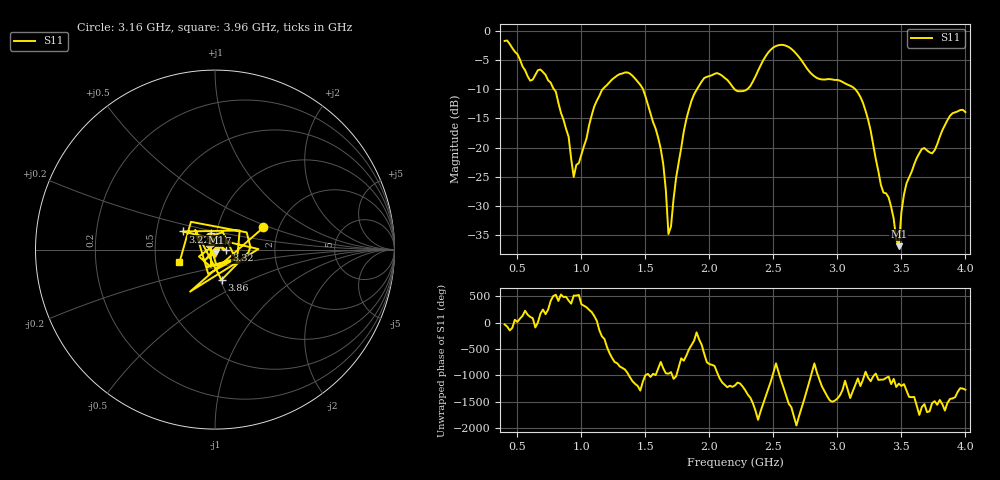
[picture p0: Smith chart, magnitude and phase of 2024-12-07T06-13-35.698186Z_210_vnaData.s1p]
!Created with skrf (http://scikit-rf.org).
# Hz S RI R 50.0
!freq ReS11 ImS11
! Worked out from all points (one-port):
!   181 points, 400 MHz to 4 GHz, reference 50 ohm
!   lowest |S11| = -36.9 dB at 3.48 GHz (marker M1), VSWR 1.03, Z = 50.4 - j1.39 ohm
!   |S11| at or under -10 dB: 786.6 MHz to 1.165 GHz (378.9 MHz wide, 38.8 % of centre); 1.482 GHz to 1.902 GHz (420.3 MHz wide, 24.8 % of centre); 3.141 GHz to end of sweep (the widest 3 of 4)
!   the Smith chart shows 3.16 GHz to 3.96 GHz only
!   S11 on the Smith chart (normalised r, x): 3.16 GHz: 1.66, +0.45; 3.22 GHz: 0.68, +0.14; 3.32 GHz: 1.13, -0.01; 3.7 GHz: 0.94, +0.17; 3.86 GHz: 1.01, -0.35; 3.96 GHz: 0.66, -0.10
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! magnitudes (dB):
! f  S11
! 400 MHz  -1.7
! 600 MHz  -8.5
! 720 MHz  -7.5
! 860 MHz  -15.2
! 940 MHz  -25.0
! 1.12 GHz  -12.0
! 1.3 GHz  -7.4
! 1.46 GHz  -9.2
! 1.58 GHz  -16.7
! 1.64 GHz  -22.9
! 1.68 GHz  -34.8
! 1.76 GHz  -22.6
! 1.86 GHz  -12.0
! 1.96 GHz  -8.1
! 2.2 GHz  -10.1
! 2.5 GHz  -2.8
! 2.66 GHz  -3.4
! 3.1 GHz  -9.4
! 3.16 GHz  -10.6
! 3.22 GHz  -13.7
! 3.32 GHz  -24.0
! 3.48 GHz  -36.9
! 3.52 GHz  -28.1
! 3.56 GHz  -25.1
! 3.7 GHz  -20.5
! 3.86 GHz  -15.3
! 3.96 GHz  -13.5
! 4 GHz  -13.9
